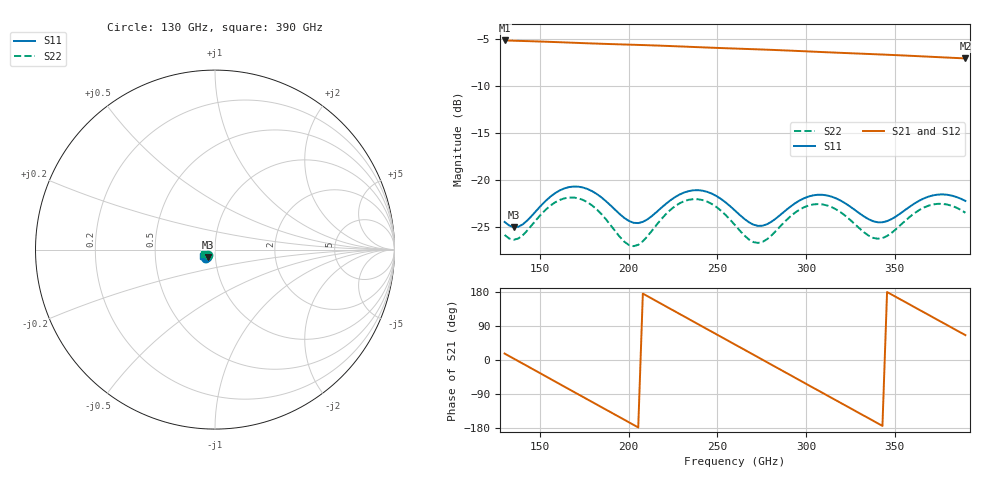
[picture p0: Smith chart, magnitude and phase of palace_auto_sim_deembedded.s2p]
! Created with skrf 1.11.0 (http://scikit-rf.org).
# GHz S DB R 50.0
!freq dBS11 angS11 dBS21 angS21 dBS12 angS12 dBS22 angS22
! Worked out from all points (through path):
!   101 points, 130 GHz to 390 GHz, reference 50 ohm
!   highest |S21| = -5.18 dB at 130 GHz (marker M1); lowest = -7.1 dB at 390 GHz (marker M2)
!   group delay of S21, straight-line fit = 7.17 ps
!   lowest |S11| = -25.0 dB at 135.2 GHz (marker M3), VSWR 1.12, Z = 46.2 - j3.92 ohm
!   |S11| at or under -10 dB: start of sweep to end of sweep
!   |S22| runs from -27.0 to -21.8 dB; largest |S21 - S12| = 6.2e-14
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130  -24.42 -139.3  -5.18 17.0  -5.18 17.0  -25.80 -142.0
135.2  -24.98 -131.5  -5.21 3.6  -5.21 3.6  -26.31 -133.0
145.6  -23.72 -118.7  -5.26 -23.3  -5.26 -23.3  -24.71 -120.6
156  -21.72 -120.8  -5.33 -50.3  -5.33 -50.3  -22.67 -124.9
174.2  -20.77 -139.6  -5.46 -97.4  -5.46 -97.4  -22.09 -146.6
184.6  -21.81 -148.7  -5.53 -124.2  -5.53 -124.2  -23.58 -156.4
197.6  -24.01 -147.9  -5.61 -157.8  -5.61 -157.8  -26.53 -151.7
205.4  -24.54 -139.0  -5.65 -178.0  -5.65 -178.0  -26.85 -137.5
218.4  -22.93 -129.7  -5.73 148.3  -5.73 148.3  -24.13 -128.0
228.8  -21.51 -134.3  -5.81 121.4  -5.81 121.4  -22.44 -135.8
239.2  -21.06 -143.6  -5.89 94.5  -5.89 94.5  -22.02 -147.7
249.6  -21.68 -152.6  -5.97 67.7  -5.97 67.7  -22.85 -158.6
260  -23.22 -156.2  -6.04 40.8  -6.04 40.8  -24.76 -162.8
270.4  -24.71 -149.2  -6.11 14.0  -6.11 14.0  -26.56 -153.1
280.8  -24.37 -137.0  -6.18 -12.9  -6.18 -12.9  -25.81 -138.4
293.8  -22.46 -134.7  -6.28 -46.5  -6.28 -46.5  -23.45 -138.2
304.2  -21.60 -141.3  -6.37 -73.4  -6.37 -73.4  -22.57 -147.0
322.4  -22.47 -153.5  -6.51 -120.3  -6.51 -120.3  -23.79 -161.6
335.4  -24.14 -150.7  -6.61 -153.8  -6.61 -153.8  -25.87 -157.4
348.4  -24.12 -138.2  -6.71 172.7  -6.71 172.7  -25.58 -141.7
371.8  -21.60 -140.8  -6.92 112.4  -6.92 112.4  -22.57 -147.5
390  -22.19 -151.8  -7.08 65.6  -7.08 65.6  -23.45 -160.6
